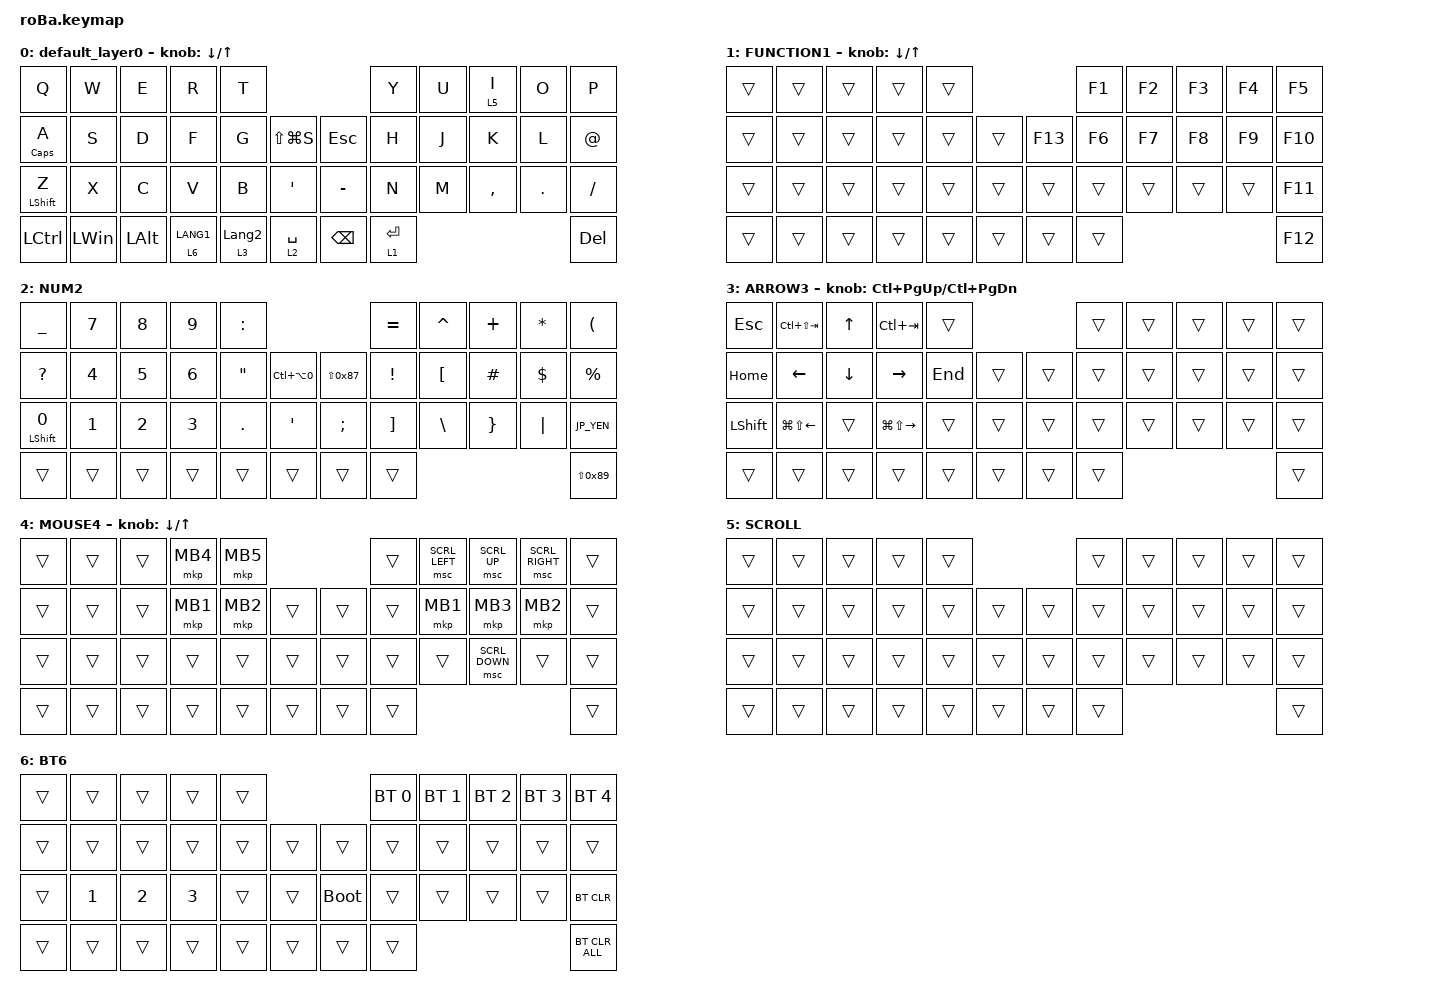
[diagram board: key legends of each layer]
#include <behaviors.dtsi>
#include <dt-bindings/zmk/bt.h>
#include <dt-bindings/zmk/keys.h>
#include <dt-bindings/zmk/pointing.h>

// OS設定を日本語キーボードのまま使用するための変換定義

#define JP_DQUOTE       AT                // "
#define JP_AMPERSAND    CARET             // &
#define JP_QUOTE        AMPERSAND         // '
#define JP_EQUAL        UNDER             // =
#define JP_CARET        EQUAL             // ^
#define JP_YEN          0x89              // ¥
#define JP_PLUS         COLON             // +
#define JP_TILDE        PLUS              // ~
#define JP_PIPE         LS(0x89)          // |
#define JP_AT           LEFT_BRACKET      // @
#define JP_COLON        SINGLE_QUOTE      // :
#define JP_ASTERISK     DOUBLE_QUOTES     // *
#define JP_BACKQUOTE    LEFT_BRACE        // `
#define JP_UNDERSCORE   LS(0x87)          // _
#define JP_LBRACKET     RIGHT_BRACKET     // [
#define JP_RBRACKET     BACKSLASH         // ]
#define JP_LPAREN       ASTERISK          // (
#define JP_RPAREN       LEFT_PARENTHESIS  // )
#define JP_LBRACE       RIGHT_BRACE       // {
#define JP_RBRACE       PIPE              // }
#define JP_KANA         LANGUAGE_1        // かな
#define JP_EISU         LANGUAGE_2        // 英数
#define JP_HANZEN       GRAVE             // 半角/全角

&mt {
    flavor = "balanced";
    quick-tap-ms = <0>;
};

&trackball {
    automouse-layer = <4>;
    scroll-layers = <5>;

    // arrows {
    //     layers = <3>;
    //     bindings =
    //         <&kp RIGHT_ARROW>,
    //         <&kp LEFT_ARROW>,
    //         <&kp UP_ARROW>,
    //         <&kp DOWN_ARROW>;
    //     tick = <10>;
    //     wait-ms = <5>;
    //     tap-ms = <5>;
    // };
};

/ {
    combos {
        compatible = "zmk,combos";

        tab {
            bindings = <&kp TAB>;
            key-positions = <11 12>;
        };

        shift_tab {
            bindings = <&kp LS(TAB)>;
            key-positions = <12 13>;
        };

        muhennkann {
            bindings = <&to_layer_0 JP_KANA>;
            key-positions = <11 10>;
        };

        double_quotation {
            bindings = <&kp JP_QUOTE>;
            key-positions = <20 21>;
        };

        eq {
            bindings = <&kp JP_EQUAL>;
            key-positions = <24 25>;
        };

        ESCape {
            bindings = <&kp ESCAPE>;
            key-positions = <0 1>;
        };
    };

    macros {
        to_layer_0: to_layer_0 {
            compatible = "zmk,behavior-macro-one-param";
            #binding-cells = <1>;
            bindings = <&to 0 &macro_param_1to1 &kp MACRO_PLACEHOLDER>;
            label = "TO_LAYER_0";
        };
    };

    behaviors {
        lt_to_layer_0: lt_to_layer_0 {
            compatible = "zmk,behavior-hold-tap";
            label = "LAYER_TAP_TO_0";
            bindings = <&mo>, <&to_layer_0>;

            #binding-cells = <2>;
            tapping-term-ms = <200>;
        };
    };

    keymap {
        compatible = "zmk,keymap";

        default_layer0 {
            bindings = <
&kp Q             &kp W         &kp E         &kp R                   &kp T                                                          &kp Y        &kp U  &lt 5 I    &kp O    &kp P
&mt CAPS A        &kp S         &kp D         &kp F                   &kp G                        &kp LS(LG(S))      &kp ESCAPE     &kp H        &kp J  &kp K      &kp L    &kp JP_DQUOTE
&mt LEFT_SHIFT Z  &kp X         &kp C         &kp V                   &kp B                        &kp JP_COLON       &kp MINUS      &kp N        &kp M  &kp COMMA  &kp DOT  &kp SLASH
&kp LCTRL         &kp LEFT_WIN  &kp LEFT_ALT  &lt_to_layer_0 6 LANG1  &lt_to_layer_0 3 LANGUAGE_2  &lt 2 SPACE        &kp BACKSPACE  &lt 1 ENTER                             &kp DEL
            >;

            sensor-bindings = <&inc_dec_kp DOWN_ARROW UP_ARROW>;
        };

        FUNCTION1 {
            bindings = <
&trans  &trans  &trans  &trans  &trans                       &kp F1  &kp F2  &kp F3  &kp F4  &kp F5
&trans  &trans  &trans  &trans  &trans  &trans      &kp F13  &kp F6  &kp F7  &kp F8  &kp F9  &kp F10
&trans  &trans  &trans  &trans  &trans  &trans      &trans   &trans  &trans  &trans  &trans  &kp F11
&trans  &trans  &trans  &trans  &trans  &trans      &trans   &trans                          &kp F12
            >;

            sensor-bindings = <&inc_dec_kp DOWN_ARROW UP_ARROW>;
        };

        NUM2 {
            bindings = <
&kp JP_EQUAL             &kp NUMBER_7  &kp NUMBER_8  &kp NUMBER_9  &kp JP_PLUS                                                   &kp JP_CARET     &kp JP_AMPERSAND  &kp JP_TILDE   &kp JP_LPAREN  &kp JP_RPAREN
&kp QUESTION             &kp NUMBER_4  &kp NUMBER_5  &kp NUMBER_6  &kp JP_ASTERISK  &kp LC(LA(NUMBER_0))      &kp JP_UNDERSCORE  &kp EXCLAMATION  &kp JP_AT         &kp HASH       &kp DOLLAR     &kp PERCENT
&mt LEFT_SHIFT NUMBER_0  &kp NUMBER_1  &kp NUMBER_2  &kp NUMBER_3  &kp PERIOD       &kp JP_COLON              &kp SEMI           &kp JP_LBRACKET  &kp JP_RBRACKET   &kp JP_LBRACE  &kp JP_RBRACE  &kp JP_YEN
&trans                   &trans        &trans        &trans        &trans           &trans                    &trans             &trans                                                           &kp JP_PIPE
            >;
        };

        ARROW3 {
            bindings = <
&kp ESCAPE      &kp LC(LS(TAB))         &kp UP_ARROW    &kp LC(TAB)              &trans                       &trans  &trans  &trans  &trans  &trans
&kp HOME        &kp LEFT_ARROW          &kp DOWN_ARROW  &kp RIGHT_ARROW          &kp END  &trans      &trans  &trans  &trans  &trans  &trans  &trans
&kp LEFT_SHIFT  &kp LG(LS(LEFT_ARROW))  &trans          &kp LG(LS(RIGHT_ARROW))  &trans   &trans      &trans  &trans  &trans  &trans  &trans  &trans
&trans          &trans                  &trans          &trans                   &trans   &trans      &trans  &trans                          &trans
            >;

            sensor-bindings = <&inc_dec_kp LC(PAGE_UP) LC(PAGE_DOWN)>;
        };

        MOUSE4 {
            bindings = <
&trans  &trans  &trans  &mkp MB4  &mkp MB5                      &trans  &msc SCRL_LEFT  &msc SCRL_UP    &msc SCRL_RIGHT  &trans
&trans  &trans  &trans  &mkp MB1  &mkp MB2  &trans      &trans  &trans  &mkp MB1        &mkp MB3        &mkp MB2         &trans
&trans  &trans  &trans  &trans    &trans    &trans      &trans  &trans  &trans          &msc SCRL_DOWN  &trans           &trans
&trans  &trans  &trans  &trans    &trans    &trans      &trans  &trans                                                   &trans
            >;

            sensor-bindings = <&inc_dec_kp DOWN_ARROW UP_ARROW>;
        };

        SCROLL {
            bindings = <
&trans  &trans  &trans  &trans  &trans                      &trans  &trans  &trans  &trans  &trans
&trans  &trans  &trans  &trans  &trans  &trans      &trans  &trans  &trans  &trans  &trans  &trans
&trans  &trans  &trans  &trans  &trans  &trans      &trans  &trans  &trans  &trans  &trans  &trans
&trans  &trans  &trans  &trans  &trans  &trans      &trans  &trans                          &trans
            >;
        };

        BT6 {
            bindings = <
&trans  &trans        &trans        &trans        &trans                           &bt BT_SEL 0  &bt BT_SEL 1  &bt BT_SEL 2  &bt BT_SEL 3  &bt BT_SEL 4
&trans  &trans        &trans        &trans        &trans  &trans      &trans       &trans        &trans        &trans        &trans        &trans
&trans  &kp NUMBER_1  &kp NUMBER_2  &kp NUMBER_3  &trans  &trans      &bootloader  &trans        &trans        &trans        &trans        &bt BT_CLR
&trans  &trans        &trans        &trans        &trans  &trans      &trans       &trans                                                  &bt BT_CLR_ALL
            >;
        };
    };
};
